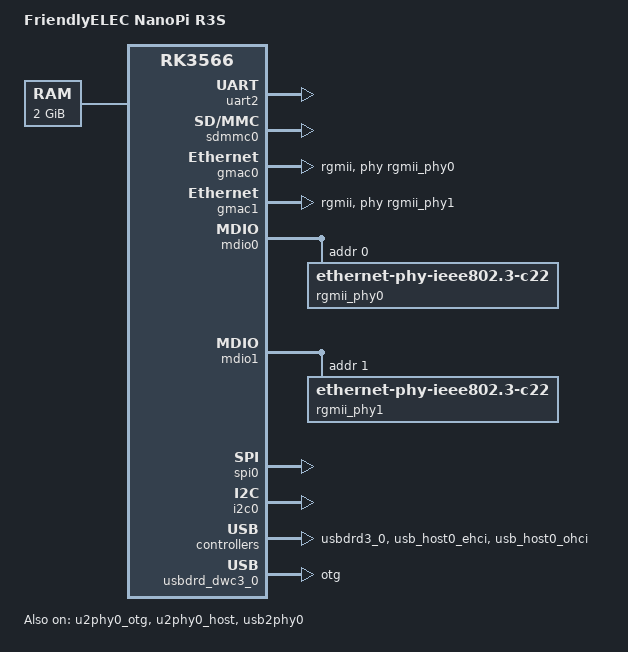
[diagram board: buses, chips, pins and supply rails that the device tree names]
/dts-v1/;

#include <dt-bindings/gpio/gpio.h>
#include <dt-bindings/pinctrl/rockchip.h>
#include "rk3566.dtsi"

/ {
	model = "FriendlyELEC NanoPi R3S";
	compatible = "friendlyelec,nanopi-r3s", "rockchip,rk3566";

	chosen {
		stdout-path = "serial2:1500000n8";
	};

	memory@0 {
		device_type = "memory";
		reg = <0x0 0x00000000 0x0 0x80000000>;
	};
};

&uart2 {
	status = "okay";
};

&sdmmc0 {
	status = "okay";
};

&gmac0 {
	status = "okay";
	phy-mode = "rgmii";
	clock_in_out = "input";
	assigned-clocks = <&cru SCLK_GMAC0_RX_TX>, <&cru SCLK_GMAC0>;
	assigned-clock-parents = <&cru SCLK_GMAC0_RGMII_SPEED>, <&cru CLK_MAC0_REF>;
	phy-handle = <&rgmii_phy0>;
};

&gmac1 {
	status = "okay";
	phy-mode = "rgmii";
	clock_in_out = "output";
	assigned-clocks = <&cru SCLK_GMAC1_RX_TX>, <&cru SCLK_GMAC1>;
	assigned-clock-parents = <&cru SCLK_GMAC1_RGMII_SPEED>, <&cru CLK_MAC1_REF>;
	phy-handle = <&rgmii_phy1>;
};

&mdio0 {
	rgmii_phy0: ethernet-phy@0 {
		compatible = "ethernet-phy-ieee802.3-c22";
		reg = <0x0>;
	};
};

&mdio1 {
	rgmii_phy1: ethernet-phy@1 {
		compatible = "ethernet-phy-ieee802.3-c22";
		reg = <0x1>;
	};
};

&spi0 {
	status = "okay";
};

&i2c0 {
	status = "okay";
};

/*
 * USB subsystem — the NanoPi R3S exposes one USB 3.0 Type-A host port
 * and one USB-C port (power + data) wired to the RK3566's DWC3 DRD
 * controller.  The USB-C port is the one used for gadget mode:
 *
 *   ┌──────────────────────┐         ┌──────────────────┐
 *   │  Host PC / Phone     │◄──USB-C──┤  NanoPi R3S      │
 *   │  (sees mass-storage  │         │  (gadget mode)   │
 *   │   + RNDIS adapter)   │         │                  │
 *   └──────────────────────┘         └──────────────────┘
 *
 * u2phy0_otg provides the PHY, usbdrd3_0 is the DWC3 wrapper, and
 * usbdrd_dwc3_0 is the controller node.  dr_mode = "otg" lets the
 * kernel switch between host and peripheral based on the ID pin /
 * extcon.  For pure-gadget deployments set dr_mode = "peripheral".
 */

&u2phy0_otg {
	status = "okay";
};

&u2phy0_host {
	status = "okay";
};

&usb2phy0 {
	status = "okay";
};

&usbdrd3_0 {
	status = "okay";
};

&usbdrd_dwc3_0 {
	dr_mode = "otg";
	maximum-speed = "high-speed";
	status = "okay";
};

/*
 * USB 3.0 Type-A host port — always host mode.
 */
&usb_host0_ehci {
	status = "okay";
};

&usb_host0_ohci {
	status = "okay";
};
